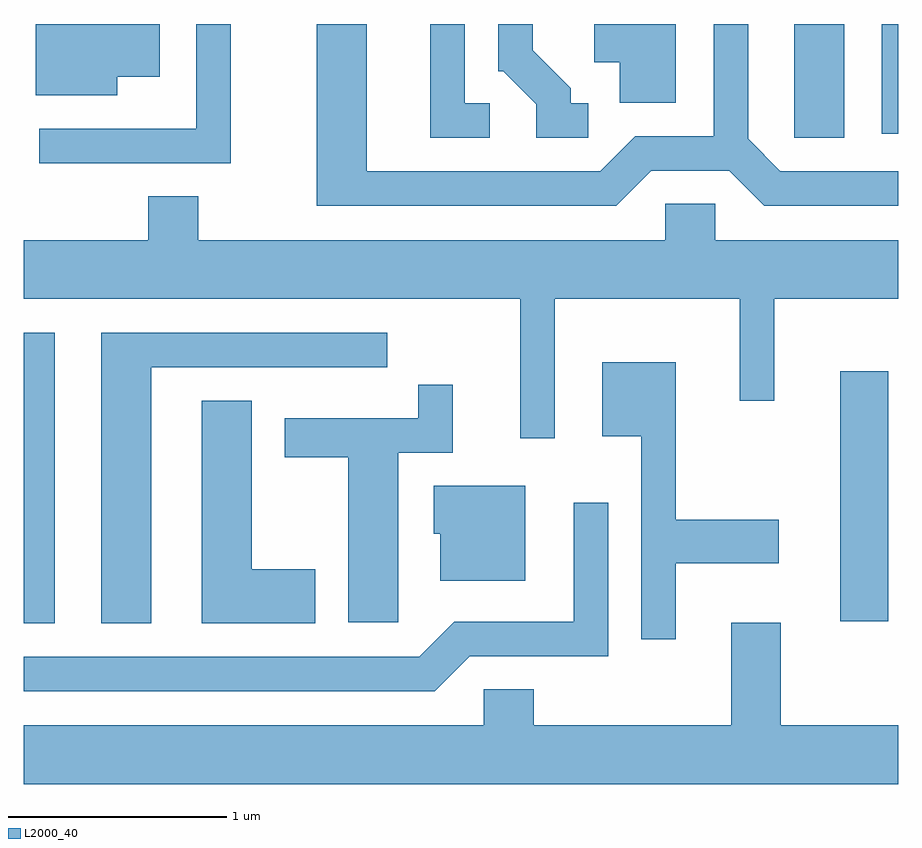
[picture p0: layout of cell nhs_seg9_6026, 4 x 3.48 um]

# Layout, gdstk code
import gdstk
lib = gdstk.Library(unit=1e-6, precision=1e-09)
def R(c, l, rs):  # rectangles x0, y0, x1, y1
    for r in rs: c.add(gdstk.rectangle(r[:2], r[2:], *l))
def P(c, l, *ps):  # polygons
    for p in ps: c.add(gdstk.Polygon(p, *l))
L2000_40 = (2000, 40)

nhs_seg9_6026 = lib.new_cell('nhs_seg9_6026')
R(nhs_seg9_6026, L2000_40, [(363.611,1963.691,363.754,1965.019), (367.346,1963.701,367.564,1964.844), (367.136,1965.911,367.364,1966.432), (367.536,1965.931,367.611,1966.432)])
P(nhs_seg9_6026, L2000_40, [(365.743,1966.069),(365.629,1966.069),(365.629,1966.432),(365.471,1966.432),(365.471,1965.911),(365.743,1965.911)],
  [(366.482,1965.761),(366.839,1965.761),(366.999,1965.601),(367.611,1965.601),(367.611,1965.759),(367.072,1965.759),(366.924,1965.907),(366.924,1966.432),(366.766,1966.432),(366.766,1965.919),(366.409,1965.919),(366.249,1965.759),(365.179,1965.759),(365.179,1966.432),(364.951,1966.432),(364.951,1965.601),(366.322,1965.601)],
  [(364.039,1966.191),(364.234,1966.191),(364.234,1966.432),(363.666,1966.432),(363.666,1966.106),(364.039,1966.106)],
  [(366.594,1966.432),(366.221,1966.432),(366.221,1966.256),(366.336,1966.256),(366.336,1966.071),(366.594,1966.071)],
  [(364.559,1966.432),(364.401,1966.432),(364.401,1965.954),(363.683,1965.954),(363.683,1965.796),(364.559,1965.796)],
  [(366.193,1966.069),(366.114,1966.069),(366.114,1966.137),(365.939,1966.312),(365.939,1966.432),(365.781,1966.432),(365.781,1966.216),(365.804,1966.216),(365.956,1966.064),(365.956,1965.911),(366.193,1965.911)],
  [(366.039,1965.176),(366.886,1965.176),(366.886,1964.708),(367.044,1964.708),(367.044,1965.176),(367.611,1965.176),(367.611,1965.444),(366.774,1965.444),(366.774,1965.609),(366.546,1965.609),(366.546,1965.444),(364.409,1965.444),(364.409,1965.644),(364.181,1965.644),(364.181,1965.444),(363.611,1965.444),(363.611,1965.176),(365.881,1965.176),(365.881,1964.538),(366.039,1964.538)],
  [(364.194,1964.861),(365.273,1964.861),(365.273,1965.019),(363.966,1965.019),(363.966,1963.691),(364.194,1963.691)],
  [(366.594,1963.966),(367.064,1963.966),(367.064,1964.164),(366.594,1964.164),(366.594,1964.884),(366.256,1964.884),(366.256,1964.546),(366.436,1964.546),(366.436,1963.618),(366.594,1963.618)],
  [(365.324,1964.471),(365.574,1964.471),(365.574,1964.783),(365.416,1964.783),(365.416,1964.629),(364.806,1964.629),(364.806,1964.451),(365.096,1964.451),(365.096,1963.696),(365.324,1963.696)],
  [(364.944,1963.939),(364.654,1963.939),(364.654,1964.709),(364.426,1964.709),(364.426,1963.691),(364.944,1963.691)],
  [(365.904,1964.319),(365.486,1964.319),(365.486,1964.101),(365.516,1964.101),(365.516,1963.886),(365.904,1963.886)],
  [(365.652,1963.541),(366.284,1963.541),(366.284,1964.243),(366.126,1964.243),(366.126,1963.699),(365.579,1963.699),(365.419,1963.539),(363.611,1963.539),(363.611,1963.381),(365.492,1963.381)],
  [(367.611,1963.224),(367.074,1963.224),(367.074,1963.694),(366.846,1963.694),(366.846,1963.224),(365.944,1963.224),(365.944,1963.389),(365.716,1963.389),(365.716,1963.224),(363.611,1963.224),(363.611,1962.956),(367.611,1962.956)])

lib.write_gds('nhs_seg9_6026.gds')
